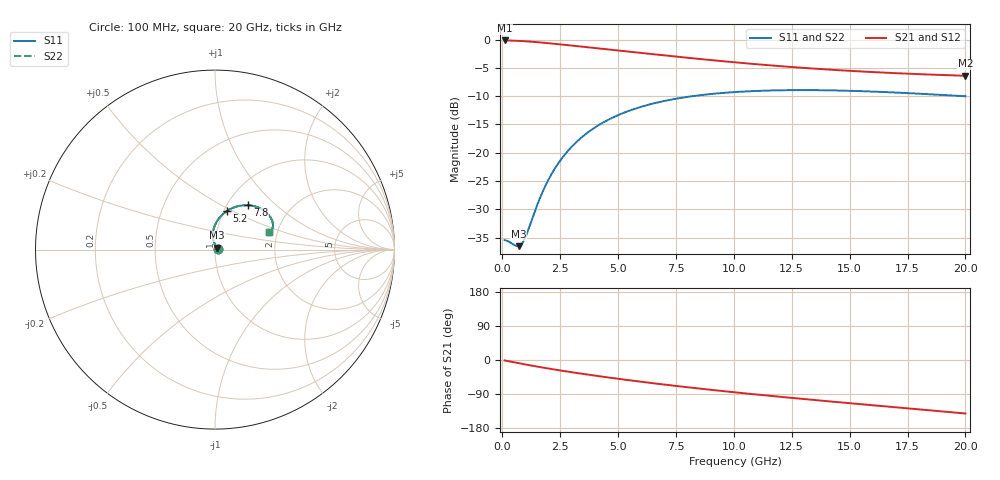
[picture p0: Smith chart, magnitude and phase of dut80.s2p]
! Created with skrf 1.9.0 (http://scikit-rf.org).
# GHz S RI R 50.0
!freq ReS11 ImS11 ReS21 ImS21 ReS12 ImS12 ReS22 ImS22
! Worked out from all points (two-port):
!   200 points, 100 MHz to 20 GHz, reference 50 ohm
!   highest |S21| = -0.15 dB at 100 MHz (marker M1); lowest = -6.4 dB at 20 GHz (marker M2)
!   |S21| within 3 dB of the highest: start of sweep to 7.854 GHz
!   lowest |S11| = -36.5 dB at 700 MHz (marker M3), VSWR 1.03, Z = 51.1 + j1.02 ohm
!   |S11| at or under -10 dB: start of sweep to 8.219 GHz; 19.9258 GHz to end of sweep
!   |S22| runs from -36.5 to -8.9 dB; largest |S21 - S12| = 2.2e-15
!   S11 on the Smith chart (normalised r, x): 100 MHz: 1.03, +0.00; 5.2 GHz: 1.03, +0.46; 7.8 GHz: 1.24, +0.68; 20 GHz: 1.80, +0.39
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0.1  0.0168 0.00136  0.9826 -0.0209  0.9826 -0.0209  0.0168 0.00136
0.6  0.0126 0.0081  0.9691 -0.122  0.9691 -0.122  0.0126 0.0081
0.7  0.0111 0.00995  0.9643 -0.1415  0.9643 -0.1415  0.0111 0.00995
0.8  0.00946 0.012  0.9588 -0.1607  0.9588 -0.1607  0.00946 0.012
0.9  0.0077 0.0144  0.9528 -0.1795  0.9528 -0.1795  0.0077 0.0144
1  0.00584 0.0169  0.9462 -0.1978  0.9462 -0.1978  0.00584 0.0169
1.5  -0.00355 0.034  0.9062 -0.2831  0.9062 -0.2831  -0.00355 0.034
1.7  -0.00677 0.0426  0.8876 -0.3141  0.8876 -0.3141  -0.00677 0.0426
1.9  -0.00937 0.0521  0.868 -0.3431  0.868 -0.3431  -0.00937 0.0521
2.2  -0.0118 0.0676  0.837 -0.3835  0.837 -0.3835  -0.0118 0.0676
2.5  -0.0122 0.0842  0.8046 -0.42  0.8046 -0.42  -0.0122 0.0842
2.8  -0.0104 0.1014  0.7713 -0.4531  0.7713 -0.4531  -0.0104 0.1014
3.5  0.00188 0.1407  0.6915 -0.5181  0.6915 -0.5181  0.00188 0.1407
4.3  0.0272 0.1802  0.5994 -0.5744  0.5994 -0.5744  0.0272 0.1802
5.2  0.0648 0.2139  0.4974 -0.6182  0.4974 -0.6182  0.0648 0.2139
6.8  0.1388 0.2443  0.3277 -0.6551  0.3277 -0.6551  0.1388 0.2443
7.8  0.1823 0.2473  0.2322 -0.6578  0.2322 -0.6578  0.1823 0.2473
10.1  0.2603 0.2254  0.0475 -0.6264  0.0475 -0.6264  0.2603 0.2254
11.7  0.2946 0.1987  -0.0549 -0.5865  -0.0549 -0.5865  0.2946 0.1987
13.4  0.3152 0.1685  -0.1448 -0.5359  -0.1448 -0.5359  0.3152 0.1685
16.7  0.3208 0.1199  -0.2787 -0.4249  -0.2787 -0.4249  0.3208 0.1199
20  0.3004 0.0969  -0.3731 -0.3004  -0.3731 -0.3004  0.3004 0.0969
